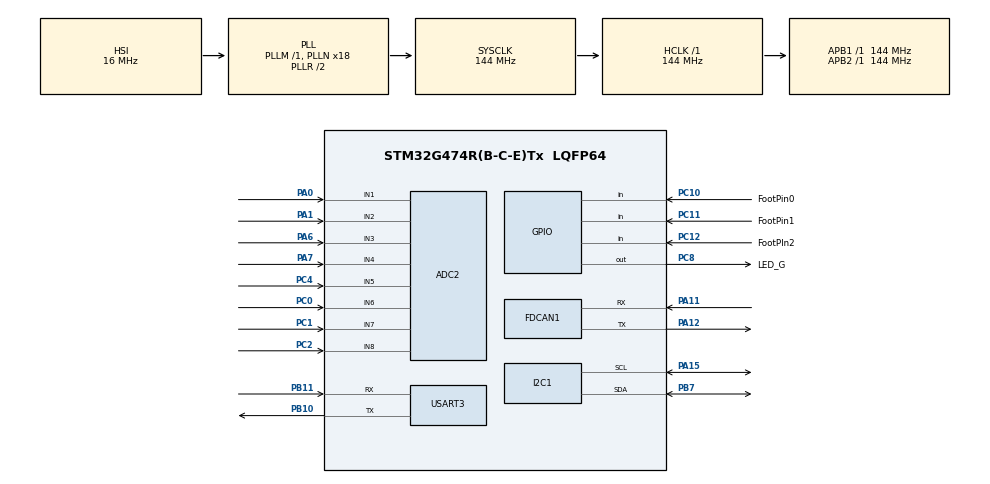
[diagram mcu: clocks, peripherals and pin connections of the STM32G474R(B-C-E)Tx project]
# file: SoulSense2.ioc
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ADC2.Channel-10\#ChannelRegularConversion=ADC_CHANNEL_2
ADC2.Channel-11\#ChannelRegularConversion=ADC_CHANNEL_3
ADC2.Channel-12\#ChannelRegularConversion=ADC_CHANNEL_4
ADC2.Channel-13\#ChannelRegularConversion=ADC_CHANNEL_5
ADC2.Channel-14\#ChannelRegularConversion=ADC_CHANNEL_6
ADC2.Channel-15\#ChannelRegularConversion=ADC_CHANNEL_7
ADC2.Channel-16\#ChannelRegularConversion=ADC_CHANNEL_8
ADC2.Channel-9\#ChannelRegularConversion=ADC_CHANNEL_1
ADC2.ContinuousConvMode=ENABLE
ADC2.DMAContinuousRequests=ENABLE
ADC2.EOCSelection=ADC_EOC_SEQ_CONV
ADC2.NbrOfConversion=8
ADC2.NbrOfConversionFlag=1
ADC2.OffsetNumber-10\#ChannelRegularConversion=ADC_OFFSET_NONE
ADC2.OffsetNumber-11\#ChannelRegularConversion=ADC_OFFSET_NONE
ADC2.OffsetNumber-12\#ChannelRegularConversion=ADC_OFFSET_NONE
ADC2.OffsetNumber-13\#ChannelRegularConversion=ADC_OFFSET_NONE
ADC2.OffsetNumber-14\#ChannelRegularConversion=ADC_OFFSET_NONE
ADC2.OffsetNumber-15\#ChannelRegularConversion=ADC_OFFSET_NONE
ADC2.OffsetNumber-16\#ChannelRegularConversion=ADC_OFFSET_NONE
ADC2.OffsetNumber-9\#ChannelRegularConversion=ADC_OFFSET_NONE
ADC2.Rank-10\#ChannelRegularConversion=2
ADC2.Rank-11\#ChannelRegularConversion=3
ADC2.Rank-12\#ChannelRegularConversion=4
ADC2.Rank-13\#ChannelRegularConversion=5
ADC2.Rank-14\#ChannelRegularConversion=6
ADC2.Rank-15\#ChannelRegularConversion=7
ADC2.Rank-16\#ChannelRegularConversion=8
ADC2.Rank-9\#ChannelRegularConversion=1
ADC2.SamplingTime-10\#ChannelRegularConversion=ADC_SAMPLETIME_92CYCLES_5
ADC2.SamplingTime-11\#ChannelRegularConversion=ADC_SAMPLETIME_92CYCLES_5
ADC2.SamplingTime-12\#ChannelRegularConversion=ADC_SAMPLETIME_92CYCLES_5
ADC2.SamplingTime-13\#ChannelRegularConversion=ADC_SAMPLETIME_92CYCLES_5
ADC2.SamplingTime-14\#ChannelRegularConversion=ADC_SAMPLETIME_92CYCLES_5
ADC2.SamplingTime-15\#ChannelRegularConversion=ADC_SAMPLETIME_92CYCLES_5
ADC2.SamplingTime-16\#ChannelRegularConversion=ADC_SAMPLETIME_92CYCLES_5
ADC2.SamplingTime-9\#ChannelRegularConversion=ADC_SAMPLETIME_92CYCLES_5
Dma.ADC2.0.Direction=DMA_PERIPH_TO_MEMORY
Dma.ADC2.0.EventEnable=DISABLE
Dma.ADC2.0.Instance=DMA1_Channel1
Dma.ADC2.0.MemDataAlignment=DMA_MDATAALIGN_WORD
Dma.ADC2.0.MemInc=DMA_MINC_ENABLE
Dma.ADC2.0.Mode=DMA_CIRCULAR
Dma.ADC2.0.PeriphDataAlignment=DMA_PDATAALIGN_WORD
Dma.ADC2.0.PeriphInc=DMA_PINC_DISABLE
Dma.ADC2.0.Polarity=HAL_DMAMUX_REQ_GEN_RISING
Dma.ADC2.0.Priority=DMA_PRIORITY_LOW
Dma.ADC2.0.RequestNumber=1
Dma.ADC2.0.SignalID=NONE
Dma.ADC2.0.SyncEnable=DISABLE
Dma.ADC2.0.SyncPolarity=HAL_DMAMUX_SYNC_NO_EVENT
Dma.ADC2.0.SyncRequestNumber=1
Dma.ADC2.0.SyncSignalID=NONE
Dma.Request0=ADC2
FDCAN1.CalculateBaudRateNominal=1000000
FDCAN1.CalculateTimeBitNominal=1000
FDCAN1.CalculateTimeQuantumNominal=6.944444444444445
FDCAN1.DataPrescaler=6
FDCAN1.DataSyncJumpWidth=9
FDCAN1.DataTimeSeg1=15
FDCAN1.DataTimeSeg2=9
FDCAN1.FrameFormat=FDCAN_FRAME_FD_NO_BRS
FDCAN1.Mode=FDCAN_MODE_NORMAL
FDCAN1.NominalPrescaler=1
FDCAN1.NominalSyncJumpWidth=2
FDCAN1.NominalTimeSeg1=107
FDCAN1.NominalTimeSeg2=36
FDCAN1.StdFiltersNbr=1
Mcu.Family=STM32G4
Mcu.Name=STM32G474R(B-C-E)Tx
Mcu.Package=LQFP64
NVIC.DMA1_Channel1_IRQn=true\:0\:0\:false\:false\:true\:false\:true\:true
NVIC.FDCAN1_IT0_IRQn=true\:0\:0\:false\:false\:true\:true\:true\:true
NVIC.PriorityGroup=NVIC_PRIORITYGROUP_4
NVIC.TIM3_IRQn=true\:0\:0\:false\:false\:true\:true\:true\:true
PA0.Mode=IN1-Single-Ended
PA0.Signal=ADC2_IN1
PA1.Mode=IN2-Single-Ended
PA1.Signal=ADC2_IN2
PA11.Mode=FDCAN_Activate
PA11.Signal=FDCAN1_RX
PA12.Mode=FDCAN_Activate
PA12.Signal=FDCAN1_TX
PA13.Signal=SYS_JTMS-SWDIO
PA14.Signal=SYS_JTCK-SWCLK
PA15.Mode=I2C
PA15.Signal=I2C1_SCL
PA6.Mode=IN3-Single-Ended
PA6.Signal=ADC2_IN3
PA7.Mode=IN4-Single-Ended
PA7.Signal=ADC2_IN4
PB10.Mode=Asynchronous
PB10.Signal=USART3_TX
PB11.Mode=Asynchronous
PB11.Signal=USART3_RX
PB7.Mode=I2C
PB7.Signal=I2C1_SDA
PC0.Mode=IN6-Single-Ended
PC0.Signal=ADC2_IN6
PC1.Mode=IN7-Single-Ended
PC1.Signal=ADC2_IN7
PC10.GPIO_Label=FootPin0
PC10.Signal=GPIO_Input
PC11.GPIO_Label=FootPin1
PC11.Signal=GPIO_Input
PC12.GPIO_Label=FootPIn2
PC12.Signal=GPIO_Input
PC2.Mode=IN8-Single-Ended
PC2.Signal=ADC2_IN8
PC4.Mode=IN5-Single-Ended
PC4.Signal=ADC2_IN5
PC8.GPIO_Label=LED_G
PC8.Signal=GPIO_Output
ProjectManager.HeapSize=0x200
ProjectManager.StackSize=0x400
ProjectManager.TargetToolchain=STM32CubeIDE
RCC.ADC12Freq_Value=144000000
RCC.ADC345Freq_Value=144000000
RCC.AHBFreq_Value=144000000
RCC.APB1Freq_Value=144000000
RCC.APB1TimFreq_Value=144000000
RCC.APB2Freq_Value=144000000
RCC.APB2TimFreq_Value=144000000
RCC.CortexFreq_Value=144000000
RCC.EXTERNAL_CLOCK_VALUE=12288000
RCC.HCLKFreq_Value=144000000
RCC.HSE_VALUE=8000000
RCC.HSI48_VALUE=48000000
RCC.HSI_VALUE=16000000
RCC.LSE_VALUE=32768
RCC.PLLN=18
RCC.SYSCLKFreq_VALUE=144000000
RCC.SYSCLKSource=RCC_SYSCLKSOURCE_PLLCLK
RCC.USBFreq_Value=144000000
RCC.VCOOutputFreq_Value=288000000
TIM3.PeriodNoDither=499
TIM3.Prescaler=6399
USART3.VirtualMode-Asynchronous=VM_ASYNC
VP_TIM3_VS_ClockSourceINT.Mode=Internal
board=custom

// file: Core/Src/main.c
/* USER CODE BEGIN Header */
/**
  ******************************************************************************
  * @file           : main.c
  * @brief          : Main program body
  ******************************************************************************
  * @attention
  *
  * Copyright (c) 2023 STMicroelectronics.
  * All rights reserved.
  *
  * This software is licensed under terms that can be found in the LICENSE file
  * in the root directory of this software component.
  * If no LICENSE file comes with this software, it is provided AS-IS.
  *
  ******************************************************************************
  */
/* USER CODE END Header */
#include "main.h"
#include "adc.h"
#include "dma.h"
#include "fdcan.h"
#include "i2c.h"
#include "tim.h"
#include "usart.h"
#include "gpio.h"

/* USER CODE BEGIN Includes */
#include "commcontroller.h"
#include "configuration.h"
#include "contact_sensors.h"
#include "Imu.h"
#include "SoulSense.h"
#include "version.h"
/* USER CODE END Includes */

/* USER CODE BEGIN PV */
States currentState;
SoulSense soul_sense;
CommController comm_controller;
IMU imu;
ContactSensors contact_sensors;
FwVersion fw_version;
/* USER CODE END PV */

void SystemClock_Config(void);

int main(void)
{

  /* MCU Configuration--------------------------------------------------------*/

  /* Reset of all peripherals, Initializes the Flash interface and the Systick. */
  HAL_Init();

  /* Configure the system clock */
  SystemClock_Config();

  /* Initialize all configured peripherals */
  MX_GPIO_Init();
  MX_DMA_Init();
  MX_ADC2_Init();
  MX_USART3_UART_Init();
  MX_TIM3_Init();
  MX_FDCAN1_Init();
  MX_I2C1_Init();
  /* USER CODE BEGIN 2 */
  soul_sense.imu = &imu;
  soul_sense.contact_sensors = &contact_sensors;
  soul_sense.version = &fw_version;
  soul_init(&soul_sense , &hi2c1 , &hadc2); // inits the soulsense, imu, contact sensors
  comm_controller_init(&hfdcan1 , &comm_controller);

  currentState = IDLE;
  HAL_TIM_Base_Start_IT(&htim3); // starting timer IT

  //TODO add Resistor reading for side configuration

  /* USER CODE END 2 */

  /* Infinite loop */
  /* USER CODE BEGIN WHILE */
  while (1)
  {

	  switch(currentState) {
	  	  case IDLE:
		  	  break;

	      case READ_IMU:
	    	  imu_read_data(soul_sense.imu);
	    	  currentState = IDLE;
	          break;

	      case RECEIVE_N_TRANSMIT:
	    	  //received a request to send data
	    	  if(process_received_message(&comm_controller)){
	    		  soul_update_payload(&soul_sense);  //converting the data into byte array
				  send_message(&comm_controller, soul_sense.payload);  //sending the byte array
	    	  }

	    	  memset(comm_controller.RxData, 0 , RX_BUFFER_SIZE);   //deleting used content from RxData buffer
	    	  currentState = IDLE;
	          break;

	      default:
	    	  currentState = IDLE;
	          break;
	  }

    /* USER CODE END WHILE */

  }
}

void SystemClock_Config(void)
{
  RCC_OscInitTypeDef RCC_OscInitStruct = {0};
  RCC_ClkInitTypeDef RCC_ClkInitStruct = {0};

  /** Configure the main internal regulator output voltage
  */
  HAL_PWREx_ControlVoltageScaling(PWR_REGULATOR_VOLTAGE_SCALE1);

  /** Initializes the RCC Oscillators according to the specified parameters
  * in the RCC_OscInitTypeDef structure.
  */
  RCC_OscInitStruct.OscillatorType = RCC_OSCILLATORTYPE_HSI;
  RCC_OscInitStruct.HSIState = RCC_HSI_ON;
  RCC_OscInitStruct.HSICalibrationValue = RCC_HSICALIBRATION_DEFAULT;
  RCC_OscInitStruct.PLL.PLLState = RCC_PLL_ON;
  RCC_OscInitStruct.PLL.PLLSource = RCC_PLLSOURCE_HSI;
  RCC_OscInitStruct.PLL.PLLM = RCC_PLLM_DIV1;
  RCC_OscInitStruct.PLL.PLLN = 18;
  RCC_OscInitStruct.PLL.PLLP = RCC_PLLP_DIV2;
  RCC_OscInitStruct.PLL.PLLQ = RCC_PLLQ_DIV2;
  RCC_OscInitStruct.PLL.PLLR = RCC_PLLR_DIV2;
  if (HAL_RCC_OscConfig(&RCC_OscInitStruct) != HAL_OK)
  {
    Error_Handler();
  }

  /** Initializes the CPU, AHB and APB buses clocks
  */
  RCC_ClkInitStruct.ClockType = RCC_CLOCKTYPE_HCLK|RCC_CLOCKTYPE_SYSCLK
                              |RCC_CLOCKTYPE_PCLK1|RCC_CLOCKTYPE_PCLK2;
  RCC_ClkInitStruct.SYSCLKSource = RCC_SYSCLKSOURCE_PLLCLK;
  RCC_ClkInitStruct.AHBCLKDivider = RCC_SYSCLK_DIV1;
  RCC_ClkInitStruct.APB1CLKDivider = RCC_HCLK_DIV1;
  RCC_ClkInitStruct.APB2CLKDivider = RCC_HCLK_DIV1;

  if (HAL_RCC_ClockConfig(&RCC_ClkInitStruct, FLASH_LATENCY_4) != HAL_OK)
  {
    Error_Handler();
  }
}

/* USER CODE BEGIN 4 */
void HAL_FDCAN_RxFifo0Callback(FDCAN_HandleTypeDef *hfdcan, uint32_t RxFifo0ITs) //fdcan callback IT
{
	if ((RxFifo0ITs & FDCAN_IT_RX_FIFO0_NEW_MESSAGE) != RESET)
	{
		if (HAL_FDCAN_GetRxMessage(&comm_controller.fdcan, FDCAN_RX_FIFO0, &comm_controller.RxHeader, comm_controller.RxData) != HAL_OK)
		{
			Error_Handler();
		}
	}
	currentState = RECEIVE_N_TRANSMIT;
	if (HAL_FDCAN_ActivateNotification(&comm_controller.fdcan, FDCAN_IT_RX_FIFO0_NEW_MESSAGE, 0) != HAL_OK)
	{
		Error_Handler();
	}
}

void HAL_TIM_PeriodElapsedCallback(TIM_HandleTypeDef *htim)   //timer callback IT
{
	if (htim->Instance == TIM3){
		currentState = READ_IMU;
	}
}

/* USER CODE END 4 */

void Error_Handler(void)
{
  __disable_irq();
  while (1)
  {
  }
}
